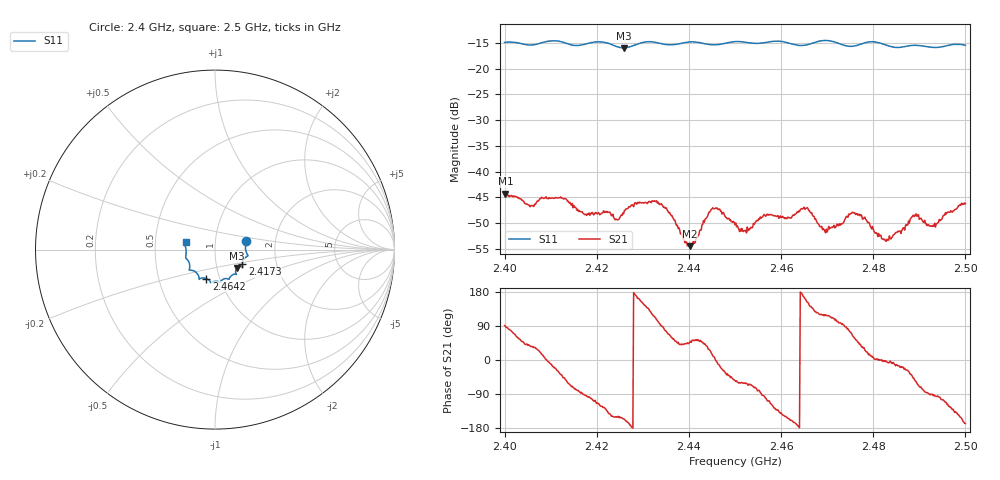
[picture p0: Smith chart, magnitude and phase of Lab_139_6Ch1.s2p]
# Hz S RI R 50
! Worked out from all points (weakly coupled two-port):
!   601 points, 2.4 GHz to 2.5 GHz, reference 50 ohm
!   highest |S21| = -44.27 dB at 2.4002 GHz (marker M1); lowest = -54.5 dB at 2.4402 GHz (marker M2)
!   lowest |S11| = -15.9 dB at 2.4258 GHz (marker M3), VSWR 1.38, Z = 62.3 - j13.2 ohm
!   |S11| at or under -10 dB: start of sweep to end of sweep
!   S12 and S22 are empty: the file has one direction only
!   S11 on the Smith chart (normalised r, x): 2.4 GHz: 1.41, +0.14; 2.4173 GHz: 1.34, -0.23; 2.4642 GHz: 0.86, -0.29; 2.5 GHz: 0.72, +0.06
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2.4e9  0.1736 0.0491  -0.000105 0.00608  0 0  0 0
2.400167e9  0.1742 0.0487  9.45e-05 0.00612  0 0  0 0
2.405833e9  0.17 0.00432  0.00379 0.00274  0 0  0 0
2.412667e9  0.177 -0.0387  0.00377 -0.00398  0 0  0 0
2.416667e9  0.1528 -0.0741  0.000345 -0.00405  0 0  0 0
2.417333e9  0.1521 -0.0818  -0.000149 -0.00383  0 0  0 0
2.424333e9  0.134 -0.0948  -0.00299 -0.00165  0 0  0 0
2.425833e9  0.1218 -0.103  -0.00353 -0.00164  0 0  0 0
2.433333e9  0.1136 -0.137  -0.000957 0.00495  0 0  0 0
2.440167e9  0.079 -0.1643  0.00129 0.00137  0 0  0 0
2.445333e9  0.0532 -0.1623  0.0043 0.000663  0 0  0 0
2.45e9  0.0287 -0.1812  0.00178 -0.00247  0 0  0 0
2.452333e9  0.0213 -0.1795  0.00126 -0.00237  0 0  0 0
2.4565e9  -0.0102 -0.1793  -0.000523 -0.00371  0 0  0 0
2.464167e9  -0.0481 -0.1614  -0.00426 4.96e-05  0 0  0 0
2.466667e9  -0.0763 -0.159  -0.00295 0.00266  0 0  0 0
2.4695e9  -0.0886 -0.1662  -0.00128 0.00228  0 0  0 0
2.476e9  -0.1163 -0.119  0.00215 0.00334  0 0  0 0
2.483333e9  -0.1406 -0.0896  0.00214 -0.000287  0 0  0 0
2.488833e9  -0.1627 -0.0456  0.00243 -0.00274  0 0  0 0
2.493e9  -0.1606 -0.014  -0.000195 -0.003  0 0  0 0
2.5e9  -0.1635 0.0425  -0.00475 -0.00104  0 0  0 0
